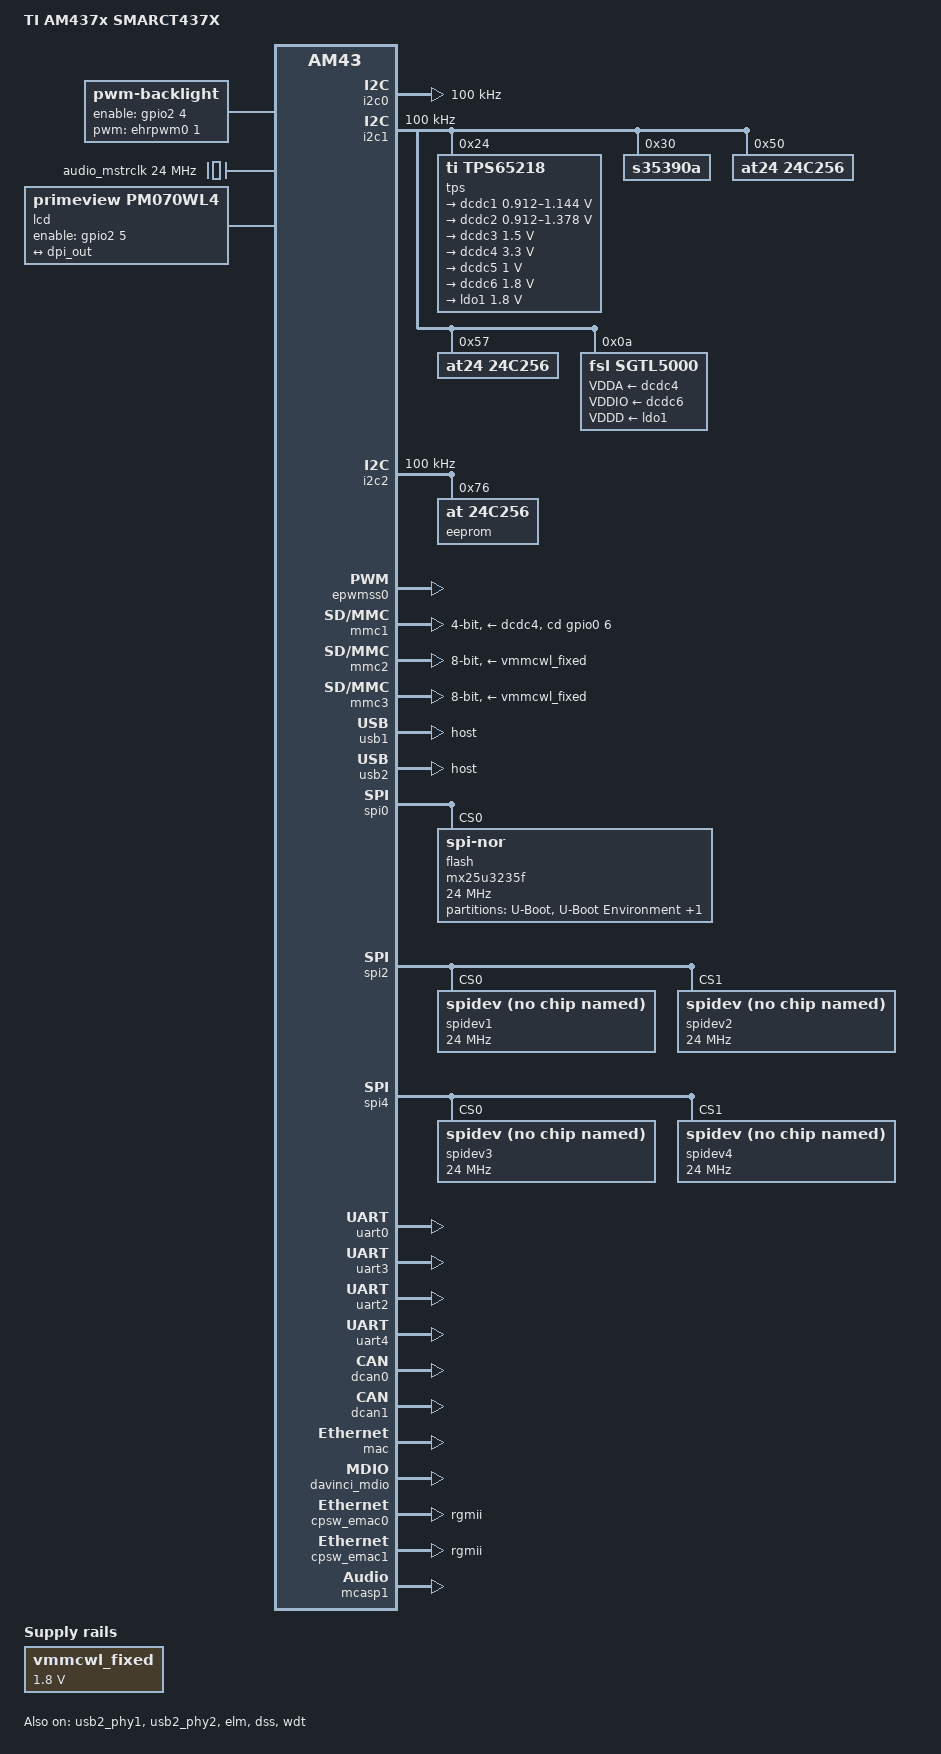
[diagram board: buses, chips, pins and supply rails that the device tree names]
/*
 * Copyright (C) 2014 Texas Instruments Incorporated - http://www.ti.com/
 *
 * This program is free software; you can redistribute it and/or modify
 * it under the terms of the GNU General Public License version 2 as
 * published by the Free Software Foundation.
 */

/* AM437x SK EVM */

/dts-v1/;

#include "am4372.dtsi"
#include <dt-bindings/pinctrl/am43xx.h>
#include <dt-bindings/pwm/pwm.h>
#include <dt-bindings/gpio/gpio.h>
#include <dt-bindings/input/input.h>

/ {
	model = "TI AM437x SMARCT437X";
	compatible = "ti,am437x-smarct437x","ti,am4372","ti,am43";

	aliases {
		display0 = &lcd0;
	};

	chosen {
		tick-timer = &timer2;
	};

        vmmcwl_fixed: fixedregulator-mmcwl {
                compatible = "regulator-fixed";
                regulator-name = "vmmcwl_fixed";
                regulator-min-microvolt = <1800000>;
                regulator-max-microvolt = <1800000>;
        };

        backlight {
                compatible = "pwm-backlight";
                enable-gpios = <&gpio2 4 GPIO_ACTIVE_HIGH>; /* Backlight Enable Pin*/
                pwms = <&ehrpwm0 1 250000 PWM_POLARITY_INVERTED>;
                brightness-levels = <0 51 53 56 62 75 128 212 255>;
                default-brightness-level = <7>; /* 7 is the brightest */
        };

        sound: sound@0 {
                compatible = "simple-audio-card";
                simple-audio-card,name = "SMARCT437X SOUND CARD";
                simple-audio-card,widgets =
                        "Headphone", "Headphone Jack",
                        "Line", "Line In";
                simple-audio-card,routing =
                        "Headphone Jack",       "HPLOUT",
                        "Headphone Jack",       "HPROUT",
                        "LINE1L",               "Line In",
                        "LINE1R",               "Line In";
                simple-audio-card,format = "dsp_b";
                simple-audio-card,bitclock-master = <&sound_master>;
                simple-audio-card,frame-master = <&sound_master>;
                simple-audio-card,bitclock-inversion;

                simple-audio-card,cpu {
                        sound-dai = <&mcasp1>;
                        system-clock-frequency = <12000000>;
                };

                /* For TI TLV320AIC3106 Audio Codec */
                /*sound_master: simple-audio-card,codec {
                        sound-dai = <&tlv320aic3106>;
                        system-clock-frequency = <24576000>;*/

                /* For Freescale SGTL5000 Audio Codec */
                sound_master: simple-audio-card,codec {
                        sound-dai = <&sgtl5000>;
                        system-clock-frequency = <24000000>;
                };
        };

        audio_mstrclk: mclk_osc {
                compatible = "fixed-clock";
                #clock-cells = <0>;
                clock-frequency = <24000000>;
        };

        lcd0: display {
                compatible = "primeview,pm070wl4", "panel-dpi";
                label = "lcd";

                pinctrl-names = "default";
                pinctrl-0 = <&lcd_pins>;

                enable-gpios = <&gpio2 5 GPIO_ACTIVE_HIGH>;

                panel-timing {
                                clock-frequency = <32000000>;
                                hactive = <800>;
                                vactive = <480>;
                                hfront-porch = <42>;
                                hback-porch = <84>;
                                hsync-len = <128>;
                                vback-porch = <33>;
                                vfront-porch = <10>;
                                vsync-len = <2>;
                                hsync-active = <0>;
                                vsync-active = <0>;
                                de-active = <1>;
                                pixelclk-active = <1>;
                };

                port {
                        lcd_in: endpoint {
                                remote-endpoint = <&dpi_out>;
                        };
                };
        };
};

&am43xx_pinmux {
        pinctrl-names = "default";
        pinctrl-0 = <&clkout1_pin &clkout2_pin &gpio_pins_default &wdt_time_out_pins_default &debugss_pins>;

        i2c0_pins: i2c0_pins {
                pinctrl-single,pins = <
                        0x188 (PIN_INPUT | SLEWCTRL_FAST | MUX_MODE0)   /* i2c0_sda.i2c0_sda */
                        0x18c (PIN_INPUT | SLEWCTRL_FAST | MUX_MODE0)   /* i2c0_scl.i2c0_scl */
                >;
        };

        i2c1_pins: i2c1_pins {
                pinctrl-single,pins = <
                        0x110 (PIN_INPUT | SLEWCTRL_FAST | MUX_MODE3)   /* mii1_rxerr.i2c1_scl */
                        0x10c (PIN_INPUT | SLEWCTRL_FAST | MUX_MODE3)   /* mii1_crs.i2c1_sda  */
                >;
        };

        i2c2_pins: i2c2_pins {
                pinctrl-single,pins = <
                        0x1ec (PIN_INPUT | SLEWCTRL_FAST | MUX_MODE3)   /* cam1_data1.i2c2_scl */
                        0x1e8 (PIN_INPUT | SLEWCTRL_FAST | MUX_MODE3)   /* cam1_data0.i2c2_sda  */
                >;
        };

        mmc1_pins: pinmux_mmc1_pins {
                pinctrl-single,pins = <
                        0x0f0 (PIN_INPUT | MUX_MODE0)   /* mmc0_dat3.mmc0_dat3 */
                        0x0f4 (PIN_INPUT | MUX_MODE0)   /* mmc0_dat2.mmc0_dat2 */
                        0x0f8 (PIN_INPUT | MUX_MODE0)   /* mmc0_dat1.mmc0_dat1 */
                        0x0fc (PIN_INPUT | MUX_MODE0)   /* mmc0_dat0.mmc0_dat0 */
                        0x100 (PIN_INPUT | MUX_MODE0)   /* mmc0_clk.mmc0_clk */
                        0x104 (PIN_INPUT | MUX_MODE0)   /* mmc0_cmd.mmc0_cmd */
                        0x160 (PIN_INPUT | MUX_MODE7)   /* spi0_cs1.gpio0_6 */
                >;
        };

        emmc_pins: pinmux_emmc_pins {
                pinctrl-single,pins = <
                        0x80 (PIN_INPUT | MUX_MODE2)    /* gpmc_csn1.mmc1_clk */
                        0x84 (PIN_INPUT | MUX_MODE2)    /* gpmc_csn2.mmc1_cmd */
                        0x00 (PIN_INPUT | MUX_MODE1)    /* gpmc_ad0.mmc1_dat0 */
                        0x04 (PIN_INPUT | MUX_MODE1)    /* gpmc_ad1.mmc1_dat1 */
                        0x08 (PIN_INPUT | MUX_MODE1)    /* gpmc_ad2.mmc1_dat2 */
                        0x0c (PIN_INPUT | MUX_MODE1)    /* gpmc_ad3.mmc1_dat3 */
                        0x10 (PIN_INPUT | MUX_MODE1)    /* gpmc_ad4.mmc1_dat4 */
                        0x14 (PIN_INPUT | MUX_MODE1)    /* gpmc_ad5.mmc1_dat5 */
                        0x18 (PIN_INPUT | MUX_MODE1)    /* gpmc_ad6.mmc1_dat6 */
                        0x1c (PIN_INPUT | MUX_MODE1)    /* gpmc_ad7.mmc1_dat7 */
                >;
        };

        sdmmc_pins: pinmux_sdmmc_pins {
                pinctrl-single,pins = <
                        0x8c (PIN_INPUT | MUX_MODE3)    /* gpmc_clk.mmc2_clk */
                        0x88 (PIN_INPUT | MUX_MODE3)    /* gpmc_csn3.mmc2_cmd */
                        0x30 (PIN_INPUT | MUX_MODE3)    /* gpmc_ad12.mmc2_dat0 */
                        0x34 (PIN_INPUT | MUX_MODE3)    /* gpmc_ad13.mmc2_dat1 */
                        0x38 (PIN_INPUT | MUX_MODE3)    /* gpmc_ad14.mmc2_dat2 */
                        0x3c (PIN_INPUT | MUX_MODE3)    /* gpmc_ad15.mmc2_dat3 */
                        0x20 (PIN_INPUT | MUX_MODE3)    /* gpmc_ad8.mmc2_dat4 */
                        0x24 (PIN_INPUT | MUX_MODE3)    /* gpmc_ad9.mmc2_dat5 */
                        0x28 (PIN_INPUT | MUX_MODE3)    /* gpmc_ad10.mmc2_dat6 */
                        0x2c (PIN_INPUT | MUX_MODE3)    /* gpmc_ad11.mmc2_dat7 */
                >;
        };

        ehrpwm0b_pins: backlight_pins {
                pinctrl-single,pins = <
                        0x1d8 (PIN_OUTPUT | MUX_MODE6)  /* cam1_vd.ehrpwm0B */
                >;
        };

        clkout1_pin: pinmux_clkout1_pin {
                pinctrl-single,pins = <
                        0x270 (PIN_OUTPUT_PULLDOWN | MUX_MODE3) /* XDMA_EVENT_INTR0/CLKOUT1 */
                >;
        };

        clkout2_pin: pinmux_clkout2_pin {
                pinctrl-single,pins = <
                        0x274 (PIN_OUTPUT_PULLDOWN | MUX_MODE3) /* XDMA_EVENT_INTR1/CLKOUT2 */
                >;
        };

        dcan0_default: dcan0_default_pins {
                pinctrl-single,pins = <
                        0x17c (PIN_INPUT_PULLUP | MUX_MODE2)    /* uart1_rtsn.dcan0_rx */
                        0x178 (PIN_OUTPUT_PULLDOWN | MUX_MODE2) /* uart1_ctsn.dcan0_tx */
                >;
        };

        dcan1_default: dcan1_default_pins {
                pinctrl-single,pins = <
                        0x184 (PIN_INPUT_PULLUP | MUX_MODE2)    /* uart1_txd.dcan1_rx */
                        0x180 (PIN_OUTPUT_PULLDOWN | MUX_MODE2) /* uart1_rxd.dcan1_tx */
                >;
        };

        uart0_pins: pinmux_uart0_pins {
                pinctrl-single,pins = <
                        0x168 (DS0_PULL_UP_DOWN_EN | INPUT_EN | MUX_MODE0)      /* uart0_ctsn.uart0_ctsn */
                        0x16c (DS0_PULL_UP_DOWN_EN | INPUT_EN | MUX_MODE0)      /* uart0_rtsn.uart0_rtsn */
                        0x170 (PIN_INPUT_PULLUP | SLEWCTRL_FAST | DS0_PULL_UP_DOWN_EN | MUX_MODE0)      /* uart0_rxd.uart0_rxd */
                        0x174 (PIN_INPUT | PULL_DISABLE | SLEWCTRL_FAST | DS0_PULL_UP_DOWN_EN | MUX_MODE0)      /* uart0_txd.uart0_txd */
                >;
        };

        uart0_pins_sleep: pinmux_uart0_pins_sleep {
                pinctrl-single,pins = <
                        0x168 (PIN_INPUT_PULLDOWN | MUX_MODE7)
                        0x16c (PIN_INPUT_PULLDOWN | MUX_MODE7)
                        0x170 (PIN_INPUT_PULLDOWN | MUX_MODE7)
                        0x174 (PIN_INPUT_PULLDOWN | MUX_MODE7)
                >;
        };

        uart3_pins: pinmux_uart3_pins {
                pinctrl-single,pins = <
                        0x228 (PIN_INPUT_PULLUP | SLEWCTRL_FAST | DS0_PULL_UP_DOWN_EN | MUX_MODE0)      /* uart3_rxd.uart3_rxd */
                        0x22c (PIN_INPUT | PULL_DISABLE | SLEWCTRL_FAST | DS0_PULL_UP_DOWN_EN | MUX_MODE0)      /* uart3_txd.uart3_txd */
                >;
        };

        uart3_pins_sleep: pinmux_uart3_pins_sleep {
                pinctrl-single,pins = <
                        0x228 (PIN_INPUT_PULLDOWN | MUX_MODE7)
                        0x22c (PIN_INPUT_PULLDOWN | MUX_MODE7)
                >;
        };

        uart2_pins: pinmux_uart2_pins {
                pinctrl-single,pins = <
                        0x200 (DS0_PULL_UP_DOWN_EN | INPUT_EN | MUX_MODE2)      /* cam1_data6.uart2_ctsn */
                        0x204 (DS0_PULL_UP_DOWN_EN | INPUT_EN | MUX_MODE2)      /* cam1_data7_rtsn.uart2_rtsn */
                        0x1f8 (PIN_INPUT_PULLUP | SLEWCTRL_FAST | DS0_PULL_UP_DOWN_EN | MUX_MODE2)      /* cam1_data4_uart2rxd */
                        0x1fc (PIN_INPUT | PULL_DISABLE | SLEWCTRL_FAST | DS0_PULL_UP_DOWN_EN | MUX_MODE2)      /* cam1_data5.uart2_txd */
                >;
        };

        uart2_pins_sleep: pinmux_uart2_pins_sleep {
                pinctrl-single,pins = <
                        0x200 (PIN_INPUT_PULLDOWN | MUX_MODE7)
                        0x204 (PIN_INPUT_PULLDOWN | MUX_MODE7)
                        0x1f8 (PIN_INPUT_PULLDOWN | MUX_MODE7)
                        0x1fc (PIN_INPUT_PULLDOWN | MUX_MODE7)
                >;
        };

        uart4_pins: pinmux_uart4_pins {
                pinctrl-single,pins = <
                        0x070 (PIN_INPUT_PULLUP | SLEWCTRL_FAST | DS0_PULL_UP_DOWN_EN | MUX_MODE6)      /* gpmc_wait0.uart4_rxd */
                        0x074 (PIN_INPUT | PULL_DISABLE | SLEWCTRL_FAST | DS0_PULL_UP_DOWN_EN | MUX_MODE6)      /* gpmc_wpn.uart4_txd */
                >;
        };

        uart4_pins_sleep: pinmux_uart4_pins_sleep {
                pinctrl-single,pins = <
                        0x070 (PIN_INPUT_PULLDOWN | MUX_MODE7)
                        0x174 (PIN_INPUT_PULLDOWN | MUX_MODE7)
                >;
        };

        /*GPIO0-GPIO11, GPIO0-5 is input and GPIO6-11 is output by default.*/
        gpio_pins_default: pinmux_gpio_pin {
                pinctrl-single,pins = <
                        0x26c (PIN_INPUT_PULLDOWN | MUX_MODE9)  /* spi2_cs0.gpio0_23 */
                        0x264 (PIN_INPUT_PULLDOWN | MUX_MODE9)  /* spi2_d0.gpio0_20 */
                        0x268 (PIN_INPUT_PULLDOWN | MUX_MODE9)  /* spi2_d1.gpio0_21 */
                        0x260 (PIN_INPUT_PULLDOWN | MUX_MODE9)  /* spi2_sclk.gpio0_22 */
                        0x21c (PIN_INPUT_PULLDOWN | MUX_MODE7)  /* cam0_data5.gpio4_27 */
                        0x224 (PIN_INPUT_PULLDOWN | MUX_MODE7)  /* cam0_data7.gpio4_29 */
                        0x19c (PIN_OUTPUT_PULLDOWN | MUX_MODE7) /* mcasp0_ahclkr.gpio3_17 */
                        0x198 (PIN_OUTPUT_PULLDOWN | MUX_MODE7) /* mcasp0_axr0.gpio3_16 */
                        0x210 (PIN_OUTPUT_PULLDOWN | MUX_MODE7) /* cam0_data2.gpio4_24 */
                        0x214 (PIN_OUTPUT_PULLDOWN | MUX_MODE7) /* cam0_data3.gpio4_25 */
                        0x218 (PIN_OUTPUT_PULLDOWN | MUX_MODE7) /* cam0_data4.gpio4_26 */
                        0x220 (PIN_OUTPUT_PULLDOWN | MUX_MODE7) /* cam0_data6.gpio4_28 */
                >;
        };

        wdt_time_out_pins_default: pinmux_wdt_time_out_pin {
                pinctrl-single,pins = <
                        0x234 (PIN_OUTPUT_PULLDOWN | MUX_MODE6) /* uart3_rtsn.ehrpwm5B */
                >;
        };

        cpsw_default: cpsw_default {
                pinctrl-single,pins = <
                        /* Slave 1 */
                        0x12c (PIN_OUTPUT | MUX_MODE2)  /* mii1_txclk.rmii1_tclk */
                        0x114 (PIN_OUTPUT | MUX_MODE2)  /* mii1_txen.rgmii1_tctl */
                        0x128 (PIN_OUTPUT | MUX_MODE2)  /* mii1_txd0.rgmii1_td0 */
                        0x124 (PIN_OUTPUT | MUX_MODE2)  /* mii1_txd1.rgmii1_td1 */
                        0x120 (PIN_OUTPUT | MUX_MODE2)  /* mii1_txd0.rgmii1_td2 */
                        0x11c (PIN_OUTPUT | MUX_MODE2)  /* mii1_txd1.rgmii1_td3 */
                        0x130 (PIN_INPUT | MUX_MODE2)   /* mii1_rxclk.rmii1_rclk */
                        0x118 (PIN_INPUT | MUX_MODE2)   /* mii1_rxdv.rgmii1_rctl */
                        0x140 (PIN_INPUT | MUX_MODE2)   /* mii1_rxd0.rgmii1_rd0 */
                        0x13c (PIN_INPUT | MUX_MODE2)   /* mii1_rxd1.rgmii1_rd1 */
                        0x138 (PIN_INPUT | MUX_MODE2)   /* mii1_rxd0.rgmii1_rd2 */
                        0x134 (PIN_INPUT | MUX_MODE2)   /* mii1_rxd1.rgmii1_rd3 */

                        /* Slave 2 */
                        0x58 (PIN_OUTPUT | MUX_MODE2)   /* gpmc_a6.rgmii2_tclk */
                        0x40 (PIN_OUTPUT | MUX_MODE2)   /* gpmc_a0.rgmii2_tctl */
                        0x54 (PIN_OUTPUT | MUX_MODE2)   /* gpmc_a5.rgmii2_td0 */
                        0x50 (PIN_OUTPUT | MUX_MODE2)   /* gpmc_a4.rgmii2_td1 */
                        0x4c (PIN_OUTPUT | MUX_MODE2)   /* gpmc_a3.rgmii2_td2 */
                        0x48 (PIN_OUTPUT | MUX_MODE2)   /* gpmc_a2.rgmii2_td3 */
                        0x5c (PIN_INPUT | MUX_MODE2)    /* gpmc_a7.rgmii2_rclk */
                        0x44 (PIN_INPUT | MUX_MODE2)    /* gpmc_a1.rgmii2_rtcl */
                        0x6c (PIN_INPUT | MUX_MODE2)    /* gpmc_a11.rgmii2_rd0 */
                        0x68 (PIN_INPUT | MUX_MODE2)    /* gpmc_a10.rgmii2_rd1 */
                        0x64 (PIN_INPUT | MUX_MODE2)    /* gpmc_a9.rgmii2_rd2 */
                        0x60 (PIN_INPUT | MUX_MODE2)    /* gpmc_a8.rgmii2_rd3 */
                >;
        };

        cpsw_sleep: cpsw_sleep {
                pinctrl-single,pins = <
                        /* Slave 1 reset value */
                        0x12c (PIN_INPUT_PULLDOWN | MUX_MODE7)
                        0x114 (PIN_INPUT_PULLDOWN | MUX_MODE7)
                        0x128 (PIN_INPUT_PULLDOWN | MUX_MODE7)
                        0x124 (PIN_INPUT_PULLDOWN | MUX_MODE7)
                        0x120 (PIN_INPUT_PULLDOWN | MUX_MODE7)
                        0x11c (PIN_INPUT_PULLDOWN | MUX_MODE7)
                        0x130 (PIN_INPUT_PULLDOWN | MUX_MODE7)
                        0x118 (PIN_INPUT_PULLDOWN | MUX_MODE7)
                        0x140 (PIN_INPUT_PULLDOWN | MUX_MODE7)
                        0x13c (PIN_INPUT_PULLDOWN | MUX_MODE7)
                        0x138 (PIN_INPUT_PULLDOWN | MUX_MODE7)
                        0x134 (PIN_INPUT_PULLDOWN | MUX_MODE7)

                        /* Slave 2 reset value */
                        0x58 (PIN_INPUT_PULLDOWN | MUX_MODE7)
                        0x40 (PIN_INPUT_PULLDOWN | MUX_MODE7)
                        0x54 (PIN_INPUT_PULLDOWN | MUX_MODE7)
                        0x50 (PIN_INPUT_PULLDOWN | MUX_MODE7)
                        0x4c (PIN_INPUT_PULLDOWN | MUX_MODE7)
                        0x48 (PIN_INPUT_PULLDOWN | MUX_MODE7)
                        0x5c (PIN_INPUT_PULLDOWN | MUX_MODE7)
                        0x44 (PIN_INPUT_PULLDOWN | MUX_MODE7)
                        0x6c (PIN_INPUT_PULLDOWN | MUX_MODE7)
                        0x68 (PIN_INPUT_PULLDOWN | MUX_MODE7)
                        0x64 (PIN_INPUT_PULLDOWN | MUX_MODE7)
                        0x60 (PIN_INPUT_PULLDOWN | MUX_MODE7)
                >;
        };

        davinci_mdio_default: davinci_mdio_default {
                pinctrl-single,pins = <
                        /* MDIO */
                        0x148 (PIN_INPUT | SLEWCTRL_FAST | MUX_MODE0)   /* mdio_data.mdio_data */
                        0x14c (PIN_OUTPUT | MUX_MODE0)                  /* mdio_clk.mdio_clk */
                >;
        };

        davinci_mdio_sleep: davinci_mdio_sleep {
                pinctrl-single,pins = <
                        /* MDIO reset value */
                        0x148 (PIN_INPUT_PULLDOWN | MUX_MODE7)
                        0x14c (PIN_INPUT_PULLDOWN | MUX_MODE7)
                >;
        };

        dss_pins: dss_pins {
                pinctrl-single,pins = <
                        0x1b0 (PIN_OUTPUT | MUX_MODE2)  /* cam0_hd.dss_data23 */
                        0x1b4 (PIN_OUTPUT | MUX_MODE2)  /* cam0_vd.dss_data22 */
                        0x1b8 (PIN_OUTPUT | MUX_MODE2)  /* cam0_field.dss_data21 */
                        0x1bc (PIN_OUTPUT | MUX_MODE2)  /* cam0_wen.dss_data20 */
                        0x1c0 (PIN_OUTPUT | MUX_MODE2)  /* cam0_pclk.dss_data19 */
                        0x1c4 (PIN_OUTPUT | MUX_MODE2)  /* cam0_data8.dss_data18 */
                        0x1c8 (PIN_OUTPUT | MUX_MODE2)  /* cam0_data9.dss_data17 */
                        0x1cc (PIN_OUTPUT | MUX_MODE2)  /* cam1_data9.dss_data16 */
                        0x0a0 (PIN_OUTPUT | MUX_MODE0)  /* DSS DATA 0 */
                        0x0a4 (PIN_OUTPUT | MUX_MODE0)
                        0x0a8 (PIN_OUTPUT | MUX_MODE0)
                        0x0ac (PIN_OUTPUT | MUX_MODE0)
                        0x0b0 (PIN_OUTPUT | MUX_MODE0)
                        0x0b4 (PIN_OUTPUT | MUX_MODE0)
                        0x0b8 (PIN_OUTPUT | MUX_MODE0)
                        0x0bc (PIN_OUTPUT | MUX_MODE0)
                        0x0c0 (PIN_OUTPUT | MUX_MODE0)
                        0x0c4 (PIN_OUTPUT | MUX_MODE0)
                        0x0c8 (PIN_OUTPUT | MUX_MODE0)
                        0x0cc (PIN_OUTPUT | MUX_MODE0)
                        0x0d0 (PIN_OUTPUT | MUX_MODE0)
                        0x0d4 (PIN_OUTPUT | MUX_MODE0)
                        0x0d8 (PIN_OUTPUT | MUX_MODE0)
                        0x0dc (PIN_OUTPUT | MUX_MODE0)  /* DSS DATA 15 */
                        0x0e0 (PIN_OUTPUT | MUX_MODE0)  /* DSS VSYNC */
                        0x0e4 (PIN_OUTPUT | MUX_MODE0)  /* DSS HSYNC */
                        0x0e8 (PIN_OUTPUT | MUX_MODE0)  /* DSS PCLK */
                        0x0ec (PIN_OUTPUT | MUX_MODE0)  /* DSS AC BIAS EN */

                >;
        };

        /* SPI_NOR Pins */
        spi0_pins: spi0_pins {
                pinctrl-single,pins = <
                        0x15c (PIN_OUTPUT | MUX_MODE0)  /* spi0_cs0.spi0_cs0 */
                        0x150 (PIN_INPUT | MUX_MODE0)   /* spi0_sclk.spi0_sclk */
                        0x154 (PIN_INPUT | MUX_MODE0)   /* spi0_d0.spi0_d0 */
                        0x158 (PIN_OUTPUT | MUX_MODE0)  /* spi0_d1.spi0_d1 */
                >;
        };

        /* SPI0 Pins */
        spi2_pins: spi2_pins {
                pinctrl-single,pins = <
                        0x1d4 (PIN_OUTPUT | MUX_MODE4)  /* cam1_hd.spi2_cs0 */
                        0x1e0 (PIN_OUTPUT | MUX_MODE4)  /* cam1_field.spi2_cs0 */
                        0x1dc (PIN_INPUT | MUX_MODE4)   /* cam1_pclk.spi2_sclk */
                        0x1d0 (PIN_INPUT | MUX_MODE4)   /* cam1_data8.spi2_d0 */
                        0x1e4 (PIN_OUTPUT | MUX_MODE4)  /* cam1_wen.spi2_d1 */
                >;
        };

        /* SPI1 Pins */
        spi4_pins: spi4_pins {
                pinctrl-single,pins = <
                        0x25c (PIN_OUTPUT | MUX_MODE0)  /* spi4_cs0.spi4_cs0 */
                        0x230 (PIN_OUTPUT | MUX_MODE2)  /* uart3_cstn.spi4_cs1 */
                        0x250 (PIN_INPUT | MUX_MODE0)   /* spi4_sclk.spi4_sclk */
                        0x254 (PIN_INPUT | MUX_MODE0)   /* spi4_d0.spi4_d0 */
                        0x258 (PIN_OUTPUT | MUX_MODE0)  /* spi4_d1.spi4_d1 */
                >;
        };

        mcasp1_pins: mcasp1_pins {
                pinctrl-single,pins = <
                        0x1a0 (PIN_INPUT_PULLDOWN | MUX_MODE3)  /* mcasp0_aclkr.mcasp1_aclkx */
                        0x1a4 (PIN_INPUT_PULLDOWN | MUX_MODE3)  /* mcasp0_fsr.mcasp1_fsx */
                        0x1a8 (PIN_OUTPUT_PULLDOWN | MUX_MODE3) /* mcasp0_axr1.mcasp1_axr0 */
                        0x1ac (PIN_INPUT_PULLDOWN | MUX_MODE3)  /* mcasp0_ahclkx.mcasp1_axr1 */
                >;
        };

        mcasp1_sleep_pins: mcasp1_sleep_pins {
                pinctrl-single,pins = <
                        0x1a0 (PIN_INPUT_PULLDOWN | MUX_MODE7)
                        0x1a4 (PIN_INPUT_PULLDOWN | MUX_MODE7)
                        0x1a8 (PIN_INPUT_PULLDOWN | MUX_MODE7)
                        0x1ac (PIN_INPUT_PULLDOWN | MUX_MODE7)
                >;
        };

        lcd_pins: lcd_pins {
                pinctrl-single,pins = <
                        0x09c (PIN_OUTPUT_PULLDOWN | MUX_MODE7) /* gpmc_be0n_cle.gpio2_5 */
                >;
        };

        debugss_pins: pinmux_debugss_pins {
                pinctrl-single,pins = <
                        0x290 (PIN_INPUT_PULLDOWN)
                        0x294 (PIN_INPUT_PULLDOWN)
                        0x298 (PIN_INPUT_PULLDOWN)
                        0x29C (PIN_INPUT_PULLDOWN)
                        0x2A0 (PIN_INPUT_PULLDOWN)
                        0x2A4 (PIN_INPUT_PULLDOWN)
                        0x2A8 (PIN_INPUT_PULLDOWN)
                >;
        };

        usb1_pins: usb1_pins {
                pinctrl-single,pins = <
                        0x2c0 (PIN_OUTPUT | MUX_MODE0)  /* usb0_drvvbus.usb0_drvvbus */
                        /* USB0 Over Current */
                        0x108 (PIN_INPUT | MUX_MODE9)   /* mii1_col.gpio0_0 */
                >;
        };

        usb2_pins: usb2_pins {
                pinctrl-single,pins = <
                        0x2c4 (PIN_OUTPUT | MUX_MODE0)  /* usb1_drvvbus.usb1_drvvbus */
                        /* USB1 Over Current */
                        0x078 (PIN_INPUT | MUX_MODE7)   /* gpmc_be1n.gpio1_28 */
                >;
        };
};

&i2c0 {
        status = "okay";
        pinctrl-names = "default";
        pinctrl-0 = <&i2c0_pins>;
        clock-frequency = <100000>;
};

&i2c1 {
        status = "okay";
        pinctrl-names = "default";
        pinctrl-0 = <&i2c1_pins>;
        clock-frequency = <100000>;

        tps@24 {
                compatible = "ti,tps65218";
                reg = <0x24>;
                interrupts = <GIC_SPI 7 IRQ_TYPE_LEVEL_HIGH>;
                interrupt-controller;
                #interrupt-cells = <2>;

                dcdc1: regulator-dcdc1 {
                        compatible = "ti,tps65218-dcdc1";
                        /* VDD_CORE limits min of OPP50 and max of OPP100 */
                        regulator-name = "vdd_core";
                        regulator-min-microvolt = <912000>;
                        regulator-max-microvolt = <1144000>;
                        regulator-boot-on;
                        regulator-always-on;
                };

                dcdc2: regulator-dcdc2 {
                        compatible = "ti,tps65218-dcdc2";
                        /* VDD_MPU limits min of OPP50 and max of OPP_NITRO */
                        regulator-name = "vdd_mpu";
                        regulator-min-microvolt = <912000>;
                        regulator-max-microvolt = <1378000>;
                        regulator-boot-on;
                        regulator-always-on;
                };

                dcdc3: regulator-dcdc3 {
                        compatible = "ti,tps65218-dcdc3";
                        regulator-name = "vdds_ddr";
                        regulator-min-microvolt = <1500000>;
                        regulator-max-microvolt = <1500000>;
                        regulator-boot-on;
                        regulator-always-on;
                        regulator-state-mem {
                                regulator-on-in-suspend;
                        };
                        regulator-state-disk {
                                regulator-off-in-suspend;
                        };
                };

                dcdc4: regulator-dcdc4 {
                        compatible = "ti,tps65218-dcdc4";
                        regulator-name = "v3_3d";
                        regulator-min-microvolt = <3300000>;
                        regulator-max-microvolt = <3300000>;
                        regulator-boot-on;
                        regulator-always-on;
                };

                dcdc5: regulator-dcdc5 {
                        compatible = "ti,tps65218-dcdc5";
                        regulator-name = "v1_0bat";
                        regulator-min-microvolt = <1000000>;
                        regulator-max-microvolt = <1000000>;
                        regulator-boot-on;
                        regulator-always-on;
                        regulator-state-mem {
                                regulator-on-in-suspend;
                        };
                };

                dcdc6: regulator-dcdc6 {
                        compatible = "ti,tps65218-dcdc6";
                        regulator-name = "v1_8bat";
                        regulator-min-microvolt = <1800000>;
                        regulator-max-microvolt = <1800000>;
                        regulator-boot-on;
                        regulator-always-on;
                        regulator-state-mem {
                                regulator-on-in-suspend;
                        };
                };

                ldo1: regulator-ldo1 {
                        compatible = "ti,tps65218-ldo1";
                        regulator-name = "v1_8d";
                        regulator-min-microvolt = <1800000>;
                        regulator-max-microvolt = <1800000>;
                        regulator-boot-on;
                        regulator-always-on;
                };

                power-button {
                        compatible = "ti,tps65218-pwrbutton";
                        status = "okay";
                        interrupts = <3 IRQ_TYPE_EDGE_BOTH>;
                };
        };

        s35390a: s35390a@30 {
                compatible = "s35390a";
                reg = <0x30>;
        };

        at24@50 {
                compatible = "at24,24c256";
                reg = <0x50>;
        };

        at24@57 {
                compatible = "at24,24c256";
                reg = <0x57>;
        };

        /* For TI TLV320AIC3106 Audio Codec */
        /*tlv320aic3106: tlv320aic3106@1b {
                #sound-dai-cells = <0>;
                compatible = "ti,tlv320aic3106";
                reg = <0x1b>;
                status = "okay";

                AVDD-supply = <&dcdc4>;
                IOVDD-supply = <&dcdc6>;
                DRVDD-supply = <&dcdc4>;
                DVDD-supply = <&ldo1>;
        };*/

        /* For Freescale SGTL5000 Audio Codec */
        sgtl5000: sgtl5000@0a {
                #sound-dai-cells = <0>;
                compatible = "fsl,sgtl5000";
                reg = <0x0a>;
                clocks = <&audio_mstrclk>;
                VDDA-supply = <&dcdc4>;
                VDDIO-supply = <&dcdc6>;
                VDDD-supply = <&ldo1>;
        };
};

&i2c2 {
        status = "okay";
        pinctrl-names = "default";
        pinctrl-0 = <&i2c2_pins>;
        clock-frequency = <100000>;

        /* CH7055A Parallel LCD to VGA D-SUB 15 way */
        eeprom@76 {
                compatible = "at,24c256";
                reg = <0x76>;
        };
};


&epwmss0 {
        status = "okay";

        ehrpwm0: ehrpwm@48300200 {
                status = "okay";
                pinctrl-names = "default";
                pinctrl-0 = <&ehrpwm0b_pins>;
        };
};

&gpio0 {
        status = "okay";
};

&gpio1 {
        status = "okay";
};

&gpio2 {
        status = "okay";
};

&gpio3 {
        status = "okay";
};

&gpio4 {
        status = "okay";
};

&gpio5 {
        status = "okay";
};

&mmc1 {
        status = "okay";
        pinctrl-names = "default";
        pinctrl-0 = <&mmc1_pins>;

        vmmc-supply = <&dcdc4>;
        bus-width = <4>;
        cd-gpios = <&gpio0 6 GPIO_ACTIVE_HIGH>;
};

&mmc2 {
        pinctrl-names = "default";
        pinctrl-0 = <&emmc_pins>;
        bus-width = <8>;
        vmmc-supply = <&vmmcwl_fixed>;
        status = "okay";
        ti,non-removable;
};

/*If carrier board eMMC (or 2nd SD slot) is present and used, un-comment out the following nodes. SD card will be emulated /dev/mmcblk2 instead of /dev/mmcblk1*/

&mmc3 {
        status = "okay";
        dmas = <&edma 30
                &edma 31>;
        dma-names = "tx", "rx";
        vmmc-supply = <&vmmcwl_fixed>;
        bus-width = <8>;
        pinctrl-names = "default";
        pinctrl-0 = <&sdmmc_pins>;
        keep-power-in-suspend;
        ti,non-removable;
};

&edma {
        ti,edma-xbar-event-map = /bits/ 16 <1 30
                                            2 31>;
};

/* Four-Wire Resistive Touch */
&tscadc {
        status = "disabled";
        tsc {
                ti,wires = <4>;
                ti,x-plate-resistance = <200>;
                ti,coordinate-readouts = <5>;
                ti,wire-config = <0x00 0x11 0x22 0x33>;
                ti,charge-delay = <0xB000>;
        };

        adc {
                ti,adc-channels = <0 1 2 3>;
        };
};

&usb2_phy1 {
	status = "okay";
};

&usb1 {
        dr_mode = "host";
        status = "okay";
        pinctrl-names = "default";
        pinctrl-0 = <&usb1_pins>;
};

&usb2_phy2 {
        status = "okay";
};

&usb2 {
        dr_mode = "host";
        status = "okay";
        pinctrl-names = "default";
        pinctrl-0 = <&usb2_pins>;
};

&spi0 {
        ti,spi-num-cs = <1>;
        status = "okay";
        pinctrl-names = "default";
        pinctrl-0 = <&spi0_pins>;
        dmas = <&edma 16
                &edma 17>;
        dma-names = "tx0", "rx0";

        flash: mx25u3235f@0 {
                #address-cells = <1>;
                #size-cells = <1>;
                compatible = "jedec,spi-nor";
                spi-max-frequency = <24000000>;
                reg = <0>;

                /* MTD partition table.
                 * The ROM checks the first 512KiB
                 * for a valid file to boot(XIP).
                 */
                        partition@0 {
                                label = "U-Boot";
                                reg = <0x0 0x100000>;
                        };

                        partition@100000 {
                                label = "U-Boot Environment";
                                reg = <0x100000 0x080000>;
                        };

                        partition@180000 {
                                label = "Flattened Device Tree";
                                reg = <0x180000 0x200000>;
                        };

        };
};

&spi2 {
        ti,spi-num-cs = <2>;
        status = "okay";
        pinctrl-names = "default";
        pinctrl-0 = <&spi2_pins>;
        dmas = <&edma 18
                &edma 19
                &edma 20
                &edma 21>;
        dma-names = "tx0", "rx0", "tx1", "rx1";

                spidev1: spidev@0 {
                        #address-cells = <1>;
                        #size-cells = <0>;
                        compatible = "spidev";
                        reg = <0>;
                        spi-max-frequency = <24000000>;
                };

                spidev2: spidev@1 {
                        #address-cells = <1>;
                        #size-cells = <0>;
                        compatible = "spidev";
                        reg = <1>;
                        spi-max-frequency = <24000000>;
                };
        };

&spi4 {
        ti,spi-num-cs = <2>;
        status = "okay";
        pinctrl-names = "default";
        pinctrl-0 = <&spi4_pins>;
        dmas = <&edma 26
                &edma 27
                &edma 28
                &edma 29>;
        dma-names = "tx0", "rx0", "tx1", "rx1";

                spidev3: spidev@0 {
                        #address-cells = <1>;
                        #size-cells = <0>;
                        compatible = "spidev";
                        reg = <0>;
                        spi-max-frequency = <24000000>;
                };

                spidev4: spidev@1 {
                        #address-cells = <1>;
                        #size-cells = <0>;
                        compatible = "spidev";
                        reg = <1>;
                        spi-max-frequency = <24000000>;
                };
        };

&uart0 {
        pinctrl-names = "default";
        pinctrl-0 = <&uart0_pins>;
        pinctrl-1 = <&uart0_pins_sleep>;

        status = "okay";
};

&uart3 {
        pinctrl-names = "default";
        pinctrl-0 = <&uart3_pins>;
        pinctrl-1 = <&uart3_pins_sleep>;

        status = "okay";
};

&uart2 {
        pinctrl-names = "default";
        pinctrl-0 = <&uart2_pins>;
        pinctrl-1 = <&uart2_pins_sleep>;

        status = "okay";
};

&uart4 {
        pinctrl-names = "default";
        pinctrl-0 = <&uart4_pins>;
        pinctrl-1 = <&uart4_pins_sleep>;

        status = "okay";
};

&dcan0 {
        pinctrl-names = "default";
        pinctrl-0 = <&dcan0_default>;
        status = "okay";
};

&dcan1 {
        pinctrl-names = "default";
        pinctrl-0 = <&dcan1_default>;
        status = "okay";
};

&mac {
        pinctrl-names = "default", "sleep";
        pinctrl-0 = <&cpsw_default>;
        pinctrl-1 = <&cpsw_sleep>;
        dual_emac = <1>;
        status = "okay";
};

&davinci_mdio {
        pinctrl-names = "default", "sleep";
        pinctrl-0 = <&davinci_mdio_default>;
        pinctrl-1 = <&davinci_mdio_sleep>;
        status = "okay";
};

&cpsw_emac0 {
        phy_id = <&davinci_mdio>, <6>;
        phy-mode = "rgmii";
        dual_emac_res_vlan = <1>;
};

&cpsw_emac1 {
        phy_id = <&davinci_mdio>, <7>;
        phy-mode = "rgmii";
        dual_emac_res_vlan = <2>;
};

&elm {
        status = "okay";
};

&mcasp1 {
        #sound-dai-cells = <0>;
        pinctrl-names = "default", "sleep";
        pinctrl-0 = <&mcasp1_pins>;
        pinctrl-1 = <&mcasp1_sleep_pins>;

        status = "okay";

                op-mode = <0>;          /* MCASP_IIS_MODE */
                tdm-slots = <2>;
                /* 4 serializers */
                serial-dir = <  /* 0: INACTIVE, 1: TX, 2: RX */
                        1 2 0 0
                >;

                tx-num-evt = <1>;
                rx-num-evt = <1>;
};

&dss {
        status = "okay";

        pinctrl-names = "default";
        pinctrl-0 = <&dss_pins>;

        port {
                dpi_out: endpoint@0 {
                        remote-endpoint = <&lcd_in>;
                        data-lines = <24>;
                };
        };
};

&rtc {
        status = "disabled";    /* Use Seiko S35390A on Module instead */
        ext-clk-src;
};

&wdt {
        status = "okay";
};

&cpu {
	cpu0-supply = <&dcdc2>;
};

